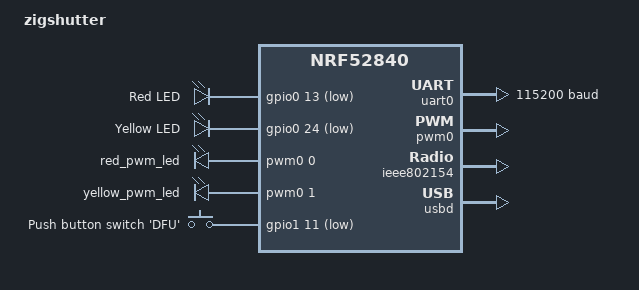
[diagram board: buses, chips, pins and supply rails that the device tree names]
/*
 * Copyright (c) 2024 Nicola Corna <nicola@corna.info>
 * Copyright (c) 2018-2023 Nordic Semiconductor ASA
 * Copyright (c) 2017 Linaro Limited
 *
 * SPDX-License-Identifier: Apache-2.0
 */

/dts-v1/;
#include <nordic/nrf52840_qiaa.dtsi>
#include "zigshutter-pinctrl.dtsi"
#include <zephyr/dt-bindings/input/input-event-codes.h>

/ {
	model = "zigshutter";
	compatible = "others,zigshutter";

	chosen {
		zephyr,console = &cdc_acm_uart;
		zephyr,shell-uart = &cdc_acm_uart;
		zephyr,uart-mcumgr = &cdc_acm_uart;
		zephyr,bt-mon-uart = &cdc_acm_uart;
		zephyr,bt-c2h-uart = &cdc_acm_uart;
		zephyr,sram = &sram0;
		zephyr,flash = &flash0;
		zephyr,code-partition = &slot0_partition;
		zephyr,ieee802154 = &ieee802154;
	};

	leds {
		compatible = "gpio-leds";
		led_red: led_0 {
			gpios = <&gpio0 13 GPIO_ACTIVE_LOW>;
			label = "Red LED";
		};
		led_yellow: led_1 {
			gpios = <&gpio0 24 GPIO_ACTIVE_LOW>;
			label = "Yellow LED";
		};
	};

	pwmleds {
		compatible = "pwm-leds";
		red_pwm_led: pwm_led_0 {
			pwms = <&pwm0 0 PWM_MSEC(20) PWM_POLARITY_INVERTED>;
		};
		yellow_pwm_led: pwm_led_1 {
			pwms = <&pwm0 1 PWM_MSEC(20) PWM_POLARITY_INVERTED>;
		};
	};

	buttons {
		compatible = "gpio-keys";
		button_dfu: button_0 {
			gpios = <&gpio1 11 (GPIO_PULL_UP | GPIO_ACTIVE_LOW)>;
			label = "Push button switch 'DFU'";
			zephyr,code = <INPUT_KEY_0>;
		};
	};

	/* These aliases are provided for compatibility with samples */
	aliases {
		sw0 = &button_dfu;
		led0 = &led_red;
		led = &led_yellow;
		led-red = &led_red;
		led-yellow = &led_yellow;
		pwm-led0 = &red_pwm_led;
		pwm-led1 = &yellow_pwm_led;
		red-pwm-led = &red_pwm_led;
		yellow-pwm-led = &yellow_pwm_led;
		mcuboot-button0 = &button_dfu;
		mcuboot-led0 = &led_red;
		watchdog0 = &wdt0;
	};
};

&gpiote {
	status = "okay";
};

&uicr {
	nfct-pins-as-gpios;
	gpio-as-nreset;
};

&gpio0 {
	status = "okay";
};

&gpio1 {
	status = "okay";
};

&uart0 {
	compatible = "nordic,nrf-uarte";
	status = "okay";
	current-speed = <115200>;
	pinctrl-0 = <&uart0_default>;
	pinctrl-1 = <&uart0_sleep>;
	pinctrl-names = "default", "sleep";
};

&pwm0 {
	status = "okay";
	pinctrl-0 = <&pwm0_default>;
	pinctrl-1 = <&pwm0_sleep>;
	pinctrl-names = "default", "sleep";
};

&ieee802154 {
	status = "okay";
};

/* Include flash partition table.
 * Two partition tables are available:
 * fstab-stock		-compatible with Nordic nRF5 bootloader, default
 * fstab-debugger	-to use an external debugger, w/o the nRF5 bootloader
 */
#include "fstab-stock.dtsi"

zephyr_udc0: &usbd {
	compatible = "nordic,nrf-usbd";
	status = "okay";

	cdc_acm_uart: cdc_acm_uart {
		compatible = "zephyr,cdc-acm-uart";
	};
};
